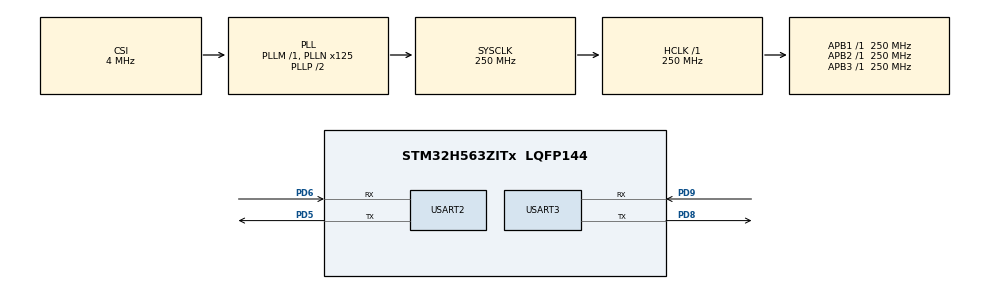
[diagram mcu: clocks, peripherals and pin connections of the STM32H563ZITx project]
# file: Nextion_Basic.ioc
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BOOTPATH.BootPathName=LEGACY
BOOTPATH.UserSelectedBootPath=LEGACY
CORTEX_M33_NS.userName=CORTEX_M33
Mcu.Family=STM32H5
Mcu.Name=STM32H563ZITx
Mcu.Package=LQFP144
NVIC.PriorityGroup=NVIC_PRIORITYGROUP_4
NVIC.USART3_IRQn=true\:0\:0\:false\:false\:true\:true\:true\:true
PD5.Mode=Asynchronous
PD5.Signal=USART2_TX
PD6.Mode=Asynchronous
PD6.Signal=USART2_RX
PD8.Mode=Asynchronous
PD8.Signal=USART3_TX
PD9.Mode=Asynchronous
PD9.Signal=USART3_RX
ProjectManager.HeapSize=0x200
ProjectManager.StackSize=0x400
ProjectManager.TargetToolchain=STM32CubeIDE
RCC.ADCFreq_Value=250000000
RCC.AHBFreq_Value=250000000
RCC.APB1Freq_Value=250000000
RCC.APB1TimFreq_Value=250000000
RCC.APB2Freq_Value=250000000
RCC.APB2TimFreq_Value=250000000
RCC.APB3Freq_Value=250000000
RCC.CSI_VALUE=4000000
RCC.CortexFreq_Value=250000000
RCC.EPOD_VALUE=4000000
RCC.HCLKFreq_Value=250000000
RCC.HSE_VALUE=25000000
RCC.HSI48_VALUE=48000000
RCC.HSI_VALUE=64000000
RCC.LSE_VALUE=32768
RCC.LSIRC_VALUE=32000
RCC.PLL2FRACN=0
RCC.PLL3FRACN=0
RCC.PLLFRACN=0
RCC.PLLN=125
RCC.SYSCLKFreq_VALUE=250000000
RCC.SYSCLKSource=RCC_SYSCLKSOURCE_PLLCLK
RCC.USBFreq_Value=48000000
RCC.VCOOutputFreq_Value=500000000
USART2.VirtualMode-Asynchronous=VM_ASYNC
USART3.VirtualMode-Asynchronous=VM_ASYNC
VP_BOOTPATH_VS_BOOTPATH.Mode=BP_Activate
VP_CORTEX_M33_NS_VS_Hclk.Mode=Hclk_Mode
VP_ICACHE_VS_ENABLE_ICACHE_MEMORY.Mode=Memoryregions
VP_MEMORYMAP_VS_MEMORYMAP.Mode=CurAppReg
VP_PWR_VS_LPOM.Mode=PowerOptimisation
VP_PWR_VS_SECSignals.Mode=Security/Privilege
board=custom

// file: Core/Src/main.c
/* USER CODE BEGIN Header */
/**
 ******************************************************************************
 * @file           : main.c
 * @brief          : Main program body
 ******************************************************************************
 * @attention
 *
 * Copyright (c) 2025 STMicroelectronics.
 * All rights reserved.
 *
 * This software is licensed under terms that can be found in the LICENSE file
 * in the root directory of this software component.
 * If no LICENSE file comes with this software, it is provided AS-IS.
 *
 ******************************************************************************
 */
/* USER CODE END Header */
#include "main.h"
#include "icache.h"
#include "usart.h"
#include "gpio.h"

/* USER CODE BEGIN Includes */
#include "nextion.h"
/* USER CODE END Includes */

void SystemClock_Config(void);

int main(void)
{

	/* MCU Configuration--------------------------------------------------------*/

	/* Reset of all peripherals, Initializes the Flash interface and the Systick. */
	HAL_Init();

	/* Configure the system clock */
	SystemClock_Config();

	/* Initialize all configured peripherals */
	MX_GPIO_Init();
	MX_ICACHE_Init();
	MX_USART3_UART_Init();
	MX_USART2_UART_Init();
	/* USER CODE BEGIN 2 */

	nextion_init();
	nextion_set_page(0);

	const int16_t x_lim_pos = 700, y_lim_pos = 450, speed = 5;
	bool x_dir = true, y_dir = true;
	uint16_t x_pos = 0, y_pos = 0;

//	nextion_move_component("t0",rand()%x_lim_pos,rand()%y_lim_pos);
	//HAL_Delay(500);

	/* USER CODE END 2 */

	/* Infinite loop */
	/* USER CODE BEGIN WHILE */

	while (1)
	{
		if (x_dir)
		{
			x_pos++;
		}
		else
		{
			x_pos--;
		}
		if (y_dir)
		{
			y_pos++;
		}
		else
		{
			y_pos--;
		}
		if (x_pos > x_lim_pos)
		{
			x_dir = false;
			nextion_set_component_color("t0", rand()%0xffff);
		}

		if (x_pos <= 0)
		{
			x_dir = true;
			nextion_set_component_color("t0", rand()%0xffff);
		}

		if (y_pos > y_lim_pos)
		{
			y_dir = false;
			nextion_set_component_color("t0", rand()%0xffff);
		}

		if (y_pos <= 0)
		{
			y_dir = true;
			nextion_set_component_color("t0", rand()%0xffff);
		}

		nextion_move_component("t0", x_pos, y_pos);
		HAL_Delay(speed);

		/* USER CODE END WHILE */

	}
}

void SystemClock_Config(void)
{
	RCC_OscInitTypeDef RCC_OscInitStruct =
	{ 0 };
	RCC_ClkInitTypeDef RCC_ClkInitStruct =
	{ 0 };

	/** Configure the main internal regulator output voltage
	 */
	__HAL_PWR_VOLTAGESCALING_CONFIG(PWR_REGULATOR_VOLTAGE_SCALE0);

	while (!__HAL_PWR_GET_FLAG(PWR_FLAG_VOSRDY))
	{
	}

	/** Initializes the RCC Oscillators according to the specified parameters
	 * in the RCC_OscInitTypeDef structure.
	 */
	RCC_OscInitStruct.OscillatorType = RCC_OSCILLATORTYPE_CSI;
	RCC_OscInitStruct.CSIState = RCC_CSI_ON;
	RCC_OscInitStruct.CSICalibrationValue = RCC_CSICALIBRATION_DEFAULT;
	RCC_OscInitStruct.PLL.PLLState = RCC_PLL_ON;
	RCC_OscInitStruct.PLL.PLLSource = RCC_PLL1_SOURCE_CSI;
	RCC_OscInitStruct.PLL.PLLM = 1;
	RCC_OscInitStruct.PLL.PLLN = 125;
	RCC_OscInitStruct.PLL.PLLP = 2;
	RCC_OscInitStruct.PLL.PLLQ = 2;
	RCC_OscInitStruct.PLL.PLLR = 2;
	RCC_OscInitStruct.PLL.PLLRGE = RCC_PLL1_VCIRANGE_2;
	RCC_OscInitStruct.PLL.PLLVCOSEL = RCC_PLL1_VCORANGE_WIDE;
	RCC_OscInitStruct.PLL.PLLFRACN = 0;
	if (HAL_RCC_OscConfig(&RCC_OscInitStruct) != HAL_OK)
	{
		Error_Handler();
	}

	/** Initializes the CPU, AHB and APB buses clocks
	 */
	RCC_ClkInitStruct.ClockType = RCC_CLOCKTYPE_HCLK | RCC_CLOCKTYPE_SYSCLK
			| RCC_CLOCKTYPE_PCLK1 | RCC_CLOCKTYPE_PCLK2 | RCC_CLOCKTYPE_PCLK3;
	RCC_ClkInitStruct.SYSCLKSource = RCC_SYSCLKSOURCE_PLLCLK;
	RCC_ClkInitStruct.AHBCLKDivider = RCC_SYSCLK_DIV1;
	RCC_ClkInitStruct.APB1CLKDivider = RCC_HCLK_DIV1;
	RCC_ClkInitStruct.APB2CLKDivider = RCC_HCLK_DIV1;
	RCC_ClkInitStruct.APB3CLKDivider = RCC_HCLK_DIV1;

	if (HAL_RCC_ClockConfig(&RCC_ClkInitStruct, FLASH_LATENCY_5) != HAL_OK)
	{
		Error_Handler();
	}

	/** Configure the programming delay
	 */
	__HAL_FLASH_SET_PROGRAM_DELAY(FLASH_PROGRAMMING_DELAY_2);
}

void Error_Handler(void)
{
	__disable_irq();
	while (1)
	{
	}
}
